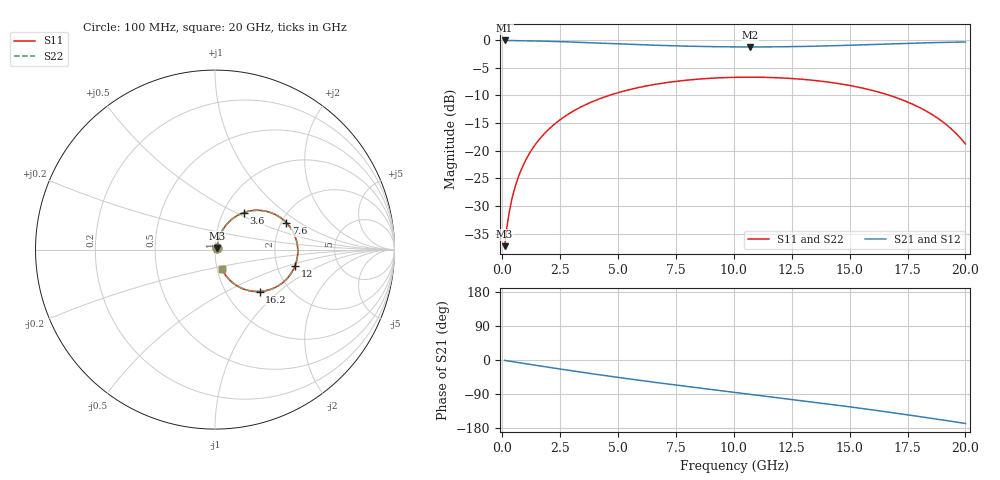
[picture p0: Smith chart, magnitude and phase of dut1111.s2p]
! Touchstone file exported from HFSS 2026.1.0
!  File:  C:/ffzhzh/LocalFiles/Ansys_Project_Files/temp_train_TSV_RDL_1111_1783304776_38704.aedt
!  Generated:  10:36:55 AM Jul  6, 2026
!  Design:  TSV_RDL
!  Project:  temp_train_TSV_RDL_1111_1783304776_38704
! Variables:
!  h_bsmrdl = 3.55um
!  h_ox = 20um
!  h_rdl = 5um
!  h_sub = 64.73um
!  h_tmrdl = 5.31um
!  h_tsv = 64.73um
!  h_via = 3um
!  l_bsmrdl = 466.47um
!  l_sub = 2941.37um
!  l_tmrdl = 247.66um
!  m_sub = 200um
!  pitch = 47.29um
!  r_tsv = 7.75um
!  s_tmrdl = 10um
!  w_bsmrdl = 21.96um
!  w_sub = 500um
!  w_tmrdl = 28.48um
!  x_tsv_center1 = 261.9um
!  x_tsv_center2 = 750.33um
!  x_tsv_center3 = 1026.47um
!  x_tsv_center4 = 1514.9um
!  x_tsv_center5 = 1791.04um
!  x_tsv_center6 = 2279.47um
# GHz S MA R 50.000000
! Terminal data exported
! Port[1] = TM_RDL1_1_T1
! Port[2] = TM_RDL5_1_T1
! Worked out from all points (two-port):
!   200 points, 100 MHz to 20 GHz, reference 50 ohm
!   highest |S21| = -0.09 dB at 100 MHz (marker M1); lowest = -1.3 dB at 10.7 GHz (marker M2)
!   |S21| within 3 dB of the highest: start of sweep to end of sweep
!   lowest |S11| = -37.2 dB at 100 MHz (marker M3), VSWR 1.03, Z = 51.1 + j0.889 ohm
!   |S11| at or under -10 dB: start of sweep to 4.622 GHz; 16.72 GHz to end of sweep
!   |S22| runs from -37.2 to -6.7 dB; largest |S21 - S12| = 1.6e-14
!   S11 on the Smith chart (normalised r, x): 100 MHz: 1.02, +0.02; 3.6 GHz: 1.25, +0.55; 7.6 GHz: 2.13, +0.78; 12 GHz: 2.51, -0.58; 16.2 GHz: 1.43, -0.75; 20 GHz: 1.05, -0.23
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0.1  0.01377 39.2  0.9894 -1.0  0.9894 -1.0  0.01377 39.2
! Gamma 0 0 0 0
! Port Impedance 50 0 50 0
0.2  0.02059 55.3  0.9887 -2.0  0.9887 -2.0  0.02059 55.3
0.3  0.02796 62.4  0.988 -3.0  0.988 -3.0  0.02796 62.4
0.5  0.04305 68.4  0.9867 -4.9  0.9867 -4.9  0.04305 68.4
0.8  0.06607 70.8  0.9848 -7.8  0.9848 -7.8  0.06607 70.8
1.1  0.08909 70.5  0.9824 -10.7  0.9824 -10.7  0.08909 70.5
1.6  0.1267 67.9  0.9774 -15.5  0.9774 -15.5  0.1267 67.9
2.1  0.1629 64.3  0.9711 -20.2  0.9711 -20.2  0.1629 64.3
3.5  0.2547 53.0  0.9489 -32.9  0.9489 -32.9  0.2547 53.0
3.6  0.2606 52.2  0.9472 -33.8  0.9472 -33.8  0.2606 52.2
5.2  0.3435 39.1  0.9188 -47.6  0.9188 -47.6  0.3435 39.1
6.8  0.4036 26.6  0.8934 -60.6  0.8934 -60.6  0.4036 26.6
7.6  0.4254 20.5  0.8831 -66.9  0.8831 -66.9  0.4254 20.5
10.1  0.4603 2.2  0.8653 -85.9  0.8653 -85.9  0.4603 2.2
10.7  0.4615 -2.2  0.8645 -90.4  0.8645 -90.4  0.4615 -2.2
12  0.4547 -11.6  0.8674 -100.2  0.8674 -100.2  0.4547 -11.6
13.4  0.4328 -21.9  0.8773 -110.9  0.8773 -110.9  0.4328 -21.9
16.2  0.3408 -43.2  0.9124 -133.5  0.9124 -133.5  0.3408 -43.2
16.7  0.3174 -47.2  0.9198 -137.7  0.9198 -137.7  0.3174 -47.2
18.6  0.2098 -61.9  0.9456 -154.5  0.9456 -154.5  0.2098 -61.9
19.4  0.1569 -67.4  0.9538 -161.9  0.9538 -161.9  0.157 -67.4
20  0.1152 -70.5  0.9583 -167.4  0.9583 -167.4  0.1152 -70.4
